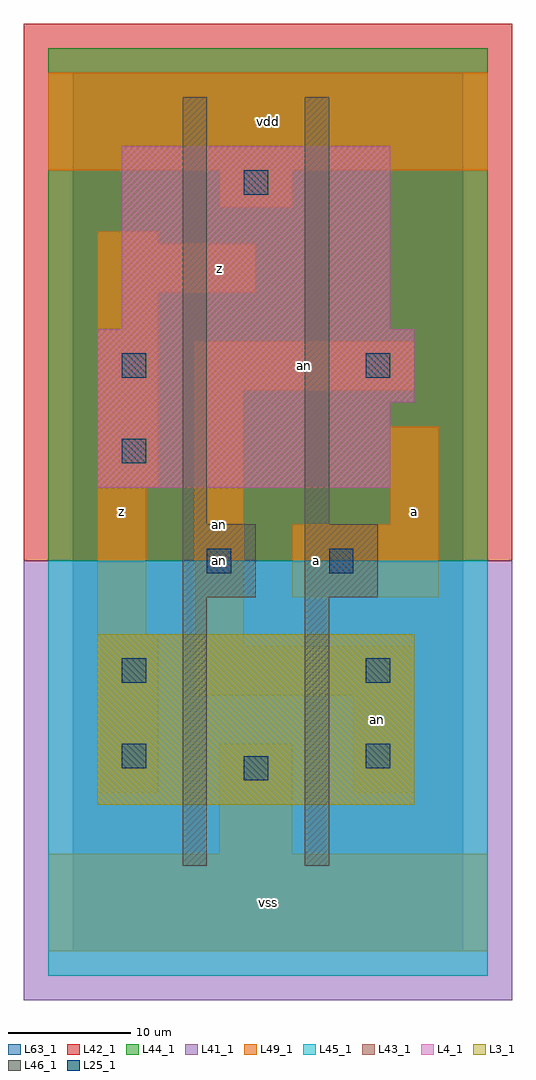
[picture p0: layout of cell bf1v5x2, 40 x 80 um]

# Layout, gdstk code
import gdstk
lib = gdstk.Library(unit=1e-6, precision=1e-09)
def R(c, l, rs):  # rectangles x0, y0, x1, y1
    for r in rs: c.add(gdstk.rectangle(r[:2], r[2:], *l))
L3_1 = (3, 1)
L4_1 = (4, 1)
L25_1 = (25, 1)
L41_1 = (41, 1)
L42_1 = (42, 1)
L43_1 = (43, 1)
L44_1 = (44, 1)
L45_1 = (45, 1)
L46_1 = (46, 1)
L49_1 = (49, 1)
L63_1 = (63, 1)

bf1v5x2 = lib.new_cell('bf1v5x2')
R(bf1v5x2, L3_1, [(2,12,28,26)])
R(bf1v5x2, L4_1, [(2,38,26,45), (2,45,28,51), (4,51,26,66)])
R(bf1v5x2, L25_1, [(14,14,16,16), (4,15,6,17), (24,15,26,17), (4,22,6,24), (24,22,26,24), (11,31,13,33), (21,31,23,33), (4,40,6,42), (4,47,6,49), (24,47,26,49), (14,62,16,64)])
R(bf1v5x2, L41_1, [(-4,-4,36,32)])
R(bf1v5x2, L42_1, [(-4,32,36,76)])
R(bf1v5x2, L43_1, [(2,12,28,26), (2,38,26,45), (2,45,28,51), (4,51,26,66)])
R(bf1v5x2, L44_1, [(-2,32,34,74)])
R(bf1v5x2, L45_1, [(-2,-2,34,32)])
R(bf1v5x2, L46_1, [(9,7,11,29), (19,7,21,29), (9,29,15,35), (19,29,25,35), (9,35,11,70), (19,35,21,70)])
R(bf1v5x2, L49_1, [(-2,0,34,8), (12,8,18,17), (2,13,7,26), (23,13,28,21), (10,21,28,25), (10,25,14,46), (2,26,6,38), (18,29,30,35), (26,35,30,43), (2,38,7,54), (10,46,28,50), (2,54,15,58), (2,58,7,59), (12,61,18,64), (-2,64,34,72)])
R(bf1v5x2, L63_1, [(0,0,32,72)])
bf1v5x2.add(gdstk.Label('an', (12,32), layer=49, texttype=1))
bf1v5x2.add(gdstk.Label('z', (4,36), layer=49, texttype=1))
bf1v5x2.add(gdstk.Label('an', (12,35), layer=49, texttype=1))
bf1v5x2.add(gdstk.Label('z', (12,56), layer=49, texttype=1))
bf1v5x2.add(gdstk.Label('vss', (16,4), layer=49, texttype=1))
bf1v5x2.add(gdstk.Label('a', (20,32), layer=49, texttype=1))
bf1v5x2.add(gdstk.Label('vdd', (16,68), layer=49, texttype=1))
bf1v5x2.add(gdstk.Label('an', (25,19), layer=49, texttype=1))
bf1v5x2.add(gdstk.Label('a', (28,36), layer=49, texttype=1))
bf1v5x2.add(gdstk.Label('an', (19,48), layer=49, texttype=1))

lib.write_gds('bf1v5x2.gds')
